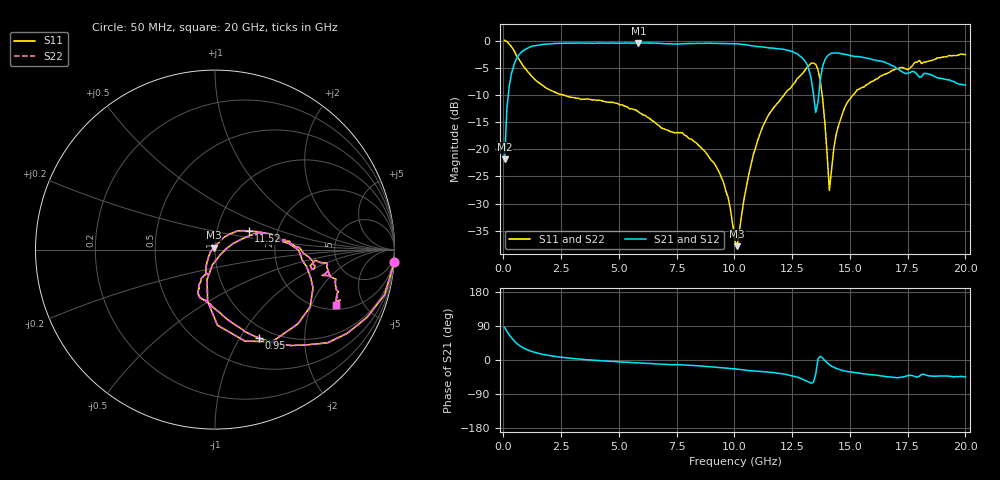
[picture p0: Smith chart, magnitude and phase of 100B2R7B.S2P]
!  American Technical Ceramics  Date:  3/13/98
!  One Norden Lane
!  Huntington Station,  NY.  11746-2102
!  Tel:  (516) 547-5700  Fax:  (516) 547-5748
!  Part Number  100b2r7b
!  Description: Porcelain, High Q, Low ESR
!  Application: Bypass, Coupling, Timing, Feedback
!  Tuning, Impedance Match, Blocking
# GHZ S DB R 50
! Freq  |S11|  S11 Ph  |S21|  S21 Ph  |S12|  S12 Ph  |S22|  S22 Ph
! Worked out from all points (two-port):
!   201 points, 50 MHz to 20 GHz, reference 50 ohm
!   highest |S21| = -0.44 dB at 5.84 GHz (marker M1); lowest = -21.8 dB at 50 MHz (marker M2)
!   |S21| within 3 dB of the highest: 554.2 MHz to 12.99 GHz (12.43 GHz wide, 184 % of centre); 13.93 GHz to 15.92 GHz (1.992 GHz wide, 13.3 % of centre)
!   lowest |S11| = -37.9 dB at 10.12 GHz (marker M3), VSWR 1.03, Z = 49.3 + j1.03 ohm
!   |S11| at or under -10 dB: 2.577 GHz to 12.15 GHz (9.57 GHz wide, 130 % of centre); 13.8 GHz to 15.14 GHz (1.344 GHz wide, 9.29 % of centre)
!   |S22| runs from -37.9 to 0.0 dB; largest |S21 - S12| = 0
!   S11 on the Smith chart (normalised r, x): 50 MHz: -0, -29; 950 MHz: 0.86, -1.21; 11.52 GHz: 1.42, +0.31; 20 GHz: 2.22, -3.06
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0.05  0.01 -4.0  -21.83 86.2  -21.83 86.2  0.01 -4.0
0.15  -0.19 -14.9  -12.43 75.4  -12.43 75.4  -0.19 -14.9
0.35  -1.18 -32.2  -6.03 58.7  -6.03 58.7  -1.18 -32.2
0.95  -5.21 -63.7  -1.62 29.2  -1.62 29.2  -5.21 -63.7
3.44  -10.80 -101.8  -0.48 1.7  -0.48 1.7  -10.80 -101.8
5.84  -13.12 -113.3  -0.44 -7.5  -0.44 -7.5  -13.12 -113.3
6.73  -15.66 -113.9  -0.51 -10.8  -0.51 -10.8  -15.66 -113.9
9.13  -22.61 -124.0  -0.52 -18.6  -0.52 -18.6  -22.61 -124.0
9.73  -28.93 -144.7  -0.58 -21.9  -0.58 -21.9  -28.93 -144.7
10.03  -36.91 166.4  -0.59 -23.5  -0.59 -23.5  -36.91 166.4
10.12  -37.85 125.0  -0.61 -24.2  -0.61 -24.2  -37.85 125.0
10.82  -21.01 53.1  -1.01 -28.8  -1.01 -28.8  -21.01 53.1
11.52  -13.40 28.9  -1.37 -32.2  -1.37 -32.2  -13.40 28.9
12.82  -6.62 -0.4  -2.82 -47.1  -2.82 -47.1  -6.62 -0.4
13.42  -4.15 -41.8  -9.77 -58.8  -9.77 -58.8  -4.15 -41.8
13.52  -4.38 -58.1  -13.23 -37.0  -13.23 -37.0  -4.38 -58.1
13.82  -10.75 -98.2  -4.75 5.1  -4.75 5.1  -10.75 -98.2
14.11  -27.60 -49.3  -2.54 -12.3  -2.54 -12.3  -27.60 -49.3
14.41  -17.18 20.7  -2.31 -22.3  -2.31 -22.3  -17.18 20.7
14.81  -12.00 21.7  -2.58 -29.5  -2.58 -29.5  -12.00 21.7
16.71  -5.85 -3.6  -4.34 -44.5  -4.34 -44.5  -5.85 -3.6
20  -2.60 -24.8  -8.22 -44.8  -8.22 -44.8  -2.60 -24.8
